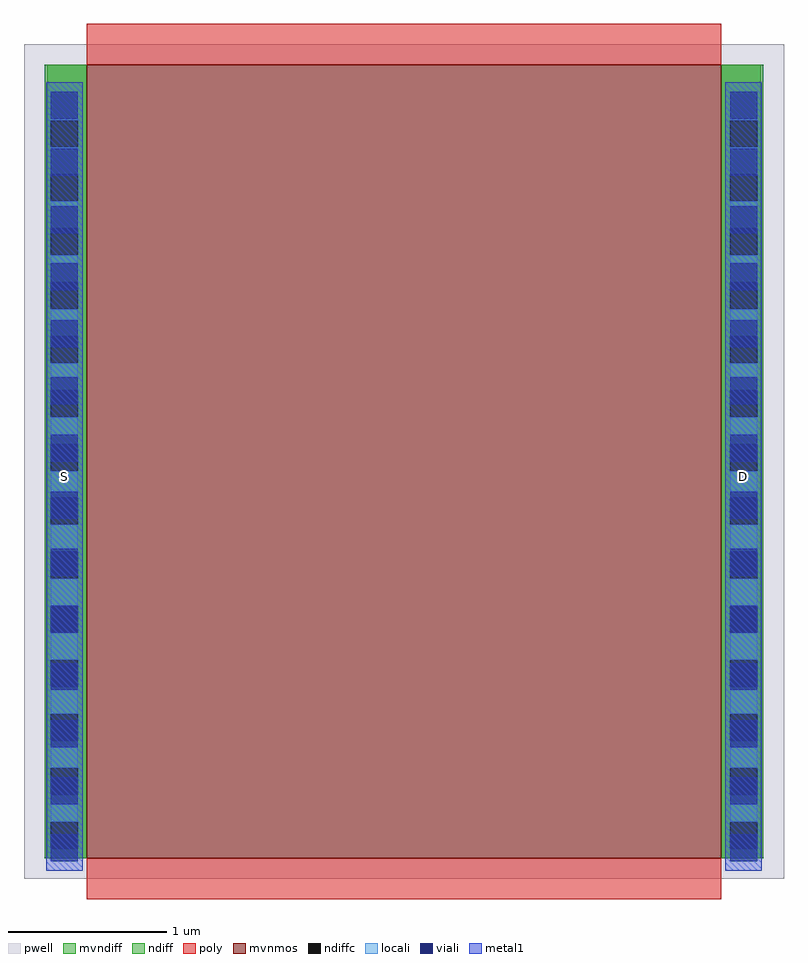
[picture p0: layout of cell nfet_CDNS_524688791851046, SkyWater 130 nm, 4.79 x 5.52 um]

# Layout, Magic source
magic
tech sky130B
magscale 1 2
<< pwell >>
rect -76 -26 876 1026
<< mvnmos >>
rect 0 0 800 1000
<< mvndiff >>
rect -50 0 0 1000
rect 800 0 850 1000
<< poly >>
rect 0 1000 800 1052
rect 0 -52 800 0
<< metal1 >>
rect -51 -16 -5 978
rect 805 -16 851 978
use DFM1sd_CDNS_52468879185601  DFM1sd_CDNS_52468879185601_0
transform -1 0 0 0 1 0
box -26 -26 79 1026
use DFM1sd_CDNS_52468879185601  DFM1sd_CDNS_52468879185601_1
transform 1 0 800 0 1 0
box -26 -26 79 1026
<< labels >>
flabel comment s -28 481 -28 481 0 FreeSans 300 0 0 0 S
flabel comment s 828 481 828 481 0 FreeSans 300 0 0 0 D
<< properties >>
string GDS_END 79938132
string GDS_FILE $PDKPATH/libs.ref/sky130_fd_io/gds/sky130_fd_io.gds
string GDS_START 79937246
<< end >>

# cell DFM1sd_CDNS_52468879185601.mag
magic
tech sky130B
magscale 1 2
<< pwell >>
rect -26 -26 79 1026
<< ndiff >>
rect 0 930 53 1000
rect 0 896 11 930
rect 45 896 53 930
rect 0 862 53 896
rect 0 828 11 862
rect 45 828 53 862
rect 0 794 53 828
rect 0 760 11 794
rect 45 760 53 794
rect 0 726 53 760
rect 0 692 11 726
rect 45 692 53 726
rect 0 658 53 692
rect 0 624 11 658
rect 45 624 53 658
rect 0 590 53 624
rect 0 556 11 590
rect 45 556 53 590
rect 0 522 53 556
rect 0 488 11 522
rect 45 488 53 522
rect 0 454 53 488
rect 0 420 11 454
rect 45 420 53 454
rect 0 386 53 420
rect 0 352 11 386
rect 45 352 53 386
rect 0 318 53 352
rect 0 284 11 318
rect 45 284 53 318
rect 0 250 53 284
rect 0 216 11 250
rect 45 216 53 250
rect 0 182 53 216
rect 0 148 11 182
rect 45 148 53 182
rect 0 114 53 148
rect 0 80 11 114
rect 45 80 53 114
rect 0 46 53 80
rect 0 12 11 46
rect 45 12 53 46
rect 0 0 53 12
<< ndiffc >>
rect 11 896 45 930
rect 11 828 45 862
rect 11 760 45 794
rect 11 692 45 726
rect 11 624 45 658
rect 11 556 45 590
rect 11 488 45 522
rect 11 420 45 454
rect 11 352 45 386
rect 11 284 45 318
rect 11 216 45 250
rect 11 148 45 182
rect 11 80 45 114
rect 11 12 45 46
<< locali >>
rect 11 930 45 932
rect 11 894 45 896
rect 11 822 45 828
rect 11 750 45 760
rect 11 678 45 692
rect 11 606 45 624
rect 11 534 45 556
rect 11 462 45 488
rect 11 390 45 420
rect 11 318 45 352
rect 11 250 45 284
rect 11 182 45 212
rect 11 114 45 140
rect 11 46 45 68
<< viali >>
rect 11 932 45 966
rect 11 862 45 894
rect 11 860 45 862
rect 11 794 45 822
rect 11 788 45 794
rect 11 726 45 750
rect 11 716 45 726
rect 11 658 45 678
rect 11 644 45 658
rect 11 590 45 606
rect 11 572 45 590
rect 11 522 45 534
rect 11 500 45 522
rect 11 454 45 462
rect 11 428 45 454
rect 11 386 45 390
rect 11 356 45 386
rect 11 284 45 318
rect 11 216 45 246
rect 11 212 45 216
rect 11 148 45 174
rect 11 140 45 148
rect 11 80 45 102
rect 11 68 45 80
rect 11 12 45 30
rect 11 -4 45 12
<< metal1 >>
rect 5 966 51 978
rect 5 932 11 966
rect 45 932 51 966
rect 5 894 51 932
rect 5 860 11 894
rect 45 860 51 894
rect 5 822 51 860
rect 5 788 11 822
rect 45 788 51 822
rect 5 750 51 788
rect 5 716 11 750
rect 45 716 51 750
rect 5 678 51 716
rect 5 644 11 678
rect 45 644 51 678
rect 5 606 51 644
rect 5 572 11 606
rect 45 572 51 606
rect 5 534 51 572
rect 5 500 11 534
rect 45 500 51 534
rect 5 462 51 500
rect 5 428 11 462
rect 45 428 51 462
rect 5 390 51 428
rect 5 356 11 390
rect 45 356 51 390
rect 5 318 51 356
rect 5 284 11 318
rect 45 284 51 318
rect 5 246 51 284
rect 5 212 11 246
rect 45 212 51 246
rect 5 174 51 212
rect 5 140 11 174
rect 45 140 51 174
rect 5 102 51 140
rect 5 68 11 102
rect 45 68 51 102
rect 5 30 51 68
rect 5 -4 11 30
rect 45 -4 51 30
rect 5 -16 51 -4
<< properties >>
string GDS_END 79937188
string GDS_FILE $PDKPATH/libs.ref/sky130_fd_io/gds/sky130_fd_io.gds
string GDS_START 79935136
<< end >>
